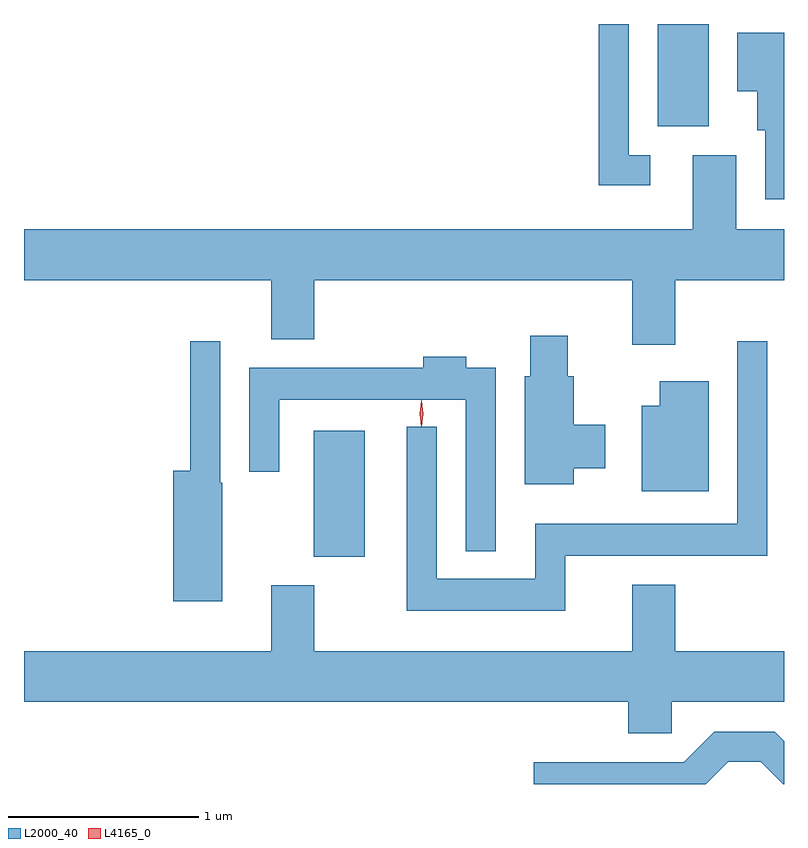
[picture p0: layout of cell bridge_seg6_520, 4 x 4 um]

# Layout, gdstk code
import gdstk
lib = gdstk.Library(unit=1e-6, precision=1e-09)
def R(c, l, rs):  # rectangles x0, y0, x1, y1
    for r in rs: c.add(gdstk.rectangle(r[:2], r[2:], *l))
def P(c, l, *ps):  # polygons
    for p in ps: c.add(gdstk.Polygon(p, *l))
L2000_40 = (2000, 40)
L4165_0 = (4165, 0)

bridge_seg6_520 = lib.new_cell('bridge_seg6_520')
R(bridge_seg6_520, L2000_40, [(484.256,1644.041,484.524,1644.704), (486.066,1646.306,486.334,1646.844)])
P(bridge_seg6_520, L2000_40, [(486.028,1646.154),(485.914,1646.154),(485.914,1646.844),(485.756,1646.844),(485.756,1645.996),(486.028,1645.996)],
  [(486.731,1646.799),(486.486,1646.799),(486.486,1646.491),(486.591,1646.491),(486.591,1646.286),(486.631,1646.286),(486.631,1645.921),(486.731,1645.921)],
  [(486.159,1645.496),(486.731,1645.496),(486.731,1645.764),(486.479,1645.764),(486.479,1646.154),(486.251,1646.154),(486.251,1645.764),(482.731,1645.764),(482.731,1645.496),(484.031,1645.496),(484.031,1645.186),(484.259,1645.186),(484.259,1645.496),(485.931,1645.496),(485.931,1645.156),(486.159,1645.156)],
  [(485.624,1644.506),(485.789,1644.506),(485.789,1644.734),(485.624,1644.734),(485.624,1644.989),(485.594,1644.989),(485.594,1645.204),(485.396,1645.204),(485.396,1644.989),(485.366,1644.989),(485.366,1644.421),(485.624,1644.421)],
  [(485.579,1644.046),(486.644,1644.046),(486.644,1645.173),(486.486,1645.173),(486.486,1644.214),(485.421,1644.214),(485.421,1643.924),(484.904,1643.924),(484.904,1644.723),(484.746,1644.723),(484.746,1643.756),(485.579,1643.756)],
  [(483.774,1644.43),(483.764,1644.43),(483.764,1645.173),(483.606,1645.173),(483.606,1644.494),(483.516,1644.494),(483.516,1643.806),(483.774,1643.806)],
  [(485.214,1645.034),(485.059,1645.034),(485.059,1645.094),(484.831,1645.094),(484.831,1645.034),(483.916,1645.034),(483.916,1644.488),(484.074,1644.488),(484.074,1644.866),(485.056,1644.866),(485.056,1644.068),(485.214,1644.068)],
  [(486.334,1644.964),(486.076,1644.964),(486.076,1644.834),(485.981,1644.834),(485.981,1644.386),(486.334,1644.386)],
  [(484.259,1643.889),(484.031,1643.889),(484.031,1643.544),(482.731,1643.544),(482.731,1643.276),(485.911,1643.276),(485.911,1643.111),(486.139,1643.111),(486.139,1643.276),(486.731,1643.276),(486.731,1643.544),(486.159,1643.544),(486.159,1643.894),(485.931,1643.894),(485.931,1643.544),(484.259,1643.544)],
  [(486.437,1642.961),(486.609,1642.961),(486.726,1642.844),(486.731,1642.844),(486.731,1643.07),(486.682,1643.119),(486.364,1643.119),(486.204,1642.959),(485.413,1642.959),(485.413,1642.844),(486.319,1642.844)])
P(bridge_seg6_520, L4165_0, [(484.823,1644.723),(484.823,1644.724),(484.814,1644.793),(484.823,1644.862),(484.823,1644.863),(484.824,1644.862),(484.833,1644.793),(484.824,1644.724)])

lib.write_gds('bridge_seg6_520.gds')
